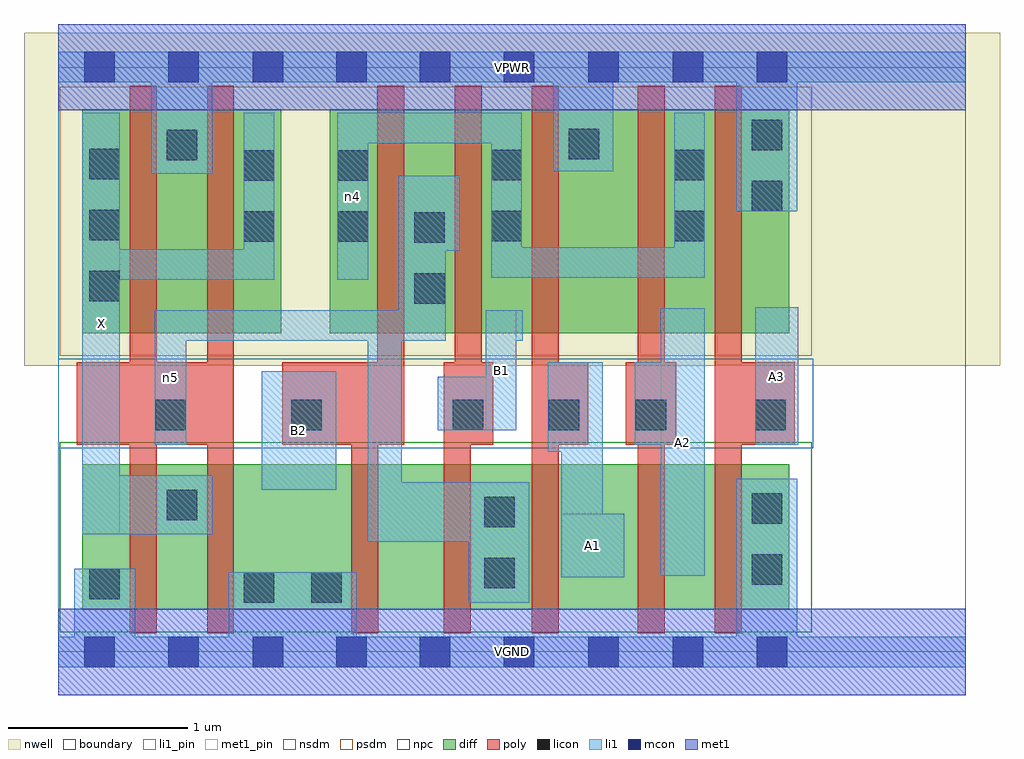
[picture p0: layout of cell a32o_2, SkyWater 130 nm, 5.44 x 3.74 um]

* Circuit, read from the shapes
.subckt a32o_2 A1 A2 A3 B1 B2 VGND VPWR X n4 n5
XM1 X n5 VGND VSUBS sky130_fd_pr__nfet_01v8 w=0.81 l=0.15 m=2
XM2 n1 B2 VGND VSUBS sky130_fd_pr__nfet_01v8 w=0.81 l=0.15
XM3 n5 B1 n1 VSUBS sky130_fd_pr__nfet_01v8 w=0.81 l=0.15
XM4 n2 A1 n5 VSUBS sky130_fd_pr__nfet_01v8 w=0.81 l=0.15
XM5 n3 A2 n2 VSUBS sky130_fd_pr__nfet_01v8 w=0.81 l=0.15
XM6 VGND A3 n3 VSUBS sky130_fd_pr__nfet_01v8 w=0.81 l=0.15
XM7 VPWR n5 X n6 sky130_fd_pr__pfet_01v8 w=1.25 l=0.15 m=2
XM8 n5 B2 n4 n6 sky130_fd_pr__pfet_01v8 w=1.25 l=0.15
XM9 n4 B1 n5 n6 sky130_fd_pr__pfet_01v8 w=1.25 l=0.15
XM10 VPWR A1 n4 n6 sky130_fd_pr__pfet_01v8 w=1.25 l=0.15
XM11 n4 A2 VPWR n6 sky130_fd_pr__pfet_01v8 w=1.25 l=0.15
XM12 VPWR A3 n4 n6 sky130_fd_pr__pfet_01v8 w=1.25 l=0.15
.ends

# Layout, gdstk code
import gdstk
lib = gdstk.Library(unit=1e-6, precision=1e-09)
def R(c, l, rs):  # rectangles x0, y0, x1, y1
    for r in rs: c.add(gdstk.rectangle(r[:2], r[2:], *l))
def A(c, l, x, y, w, h, nx, ny, dx, dy):  # array of equal rectangles
    R(c, l, [(x+i*dx, y+j*dy, x+i*dx+w, y+j*dy+h) for i in range(nx) for j in range(ny)])
nwell = (64, 20)
diff = (65, 20)
poly = (66, 20)
licon = (66, 44)
li1_pin = (67, 16)
li1 = (67, 20)
mcon = (67, 44)
met1_pin = (68, 16)
met1 = (68, 20)
nsdm = (93, 44)
psdm = (94, 20)
npc = (95, 20)
boundary = (235, 4)

a32o_2 = lib.new_cell('a32o_2')
R(a32o_2, nwell, [(-0.19,1.595,5.25,3.45), (0,1.595,5.06,3.45)])
R(a32o_2, diff, [(0.135,0.235,4.075,1.045), (0.135,1.775,1.245,3.025), (1.515,1.775,4.075,3.025)])
R(a32o_2, poly, [(0.4,0.105,0.55,3.155), (0.83,0.105,0.98,3.155), (1.635,0.105,1.785,1.615), (2.15,0.105,2.3,1.615), (2.64,0.105,2.79,3.155), (3.23,0.105,3.38,3.155), (3.66,0.105,3.81,3.155), (0.105,1.155,0.98,1.615), (1.25,1.155,1.93,1.615), (1.78,1.155,1.93,3.155), (2.15,1.155,2.425,1.615), (2.21,1.155,2.36,3.155), (2.64,1.155,2.955,1.615), (3.165,1.155,3.445,1.615), (3.66,1.155,4.105,1.615)])
A(a32o_2, licon, 0.175, 1.955, 0.17, 0.17, 1, 3, 0, 0.34)
R(a32o_2, licon, [(1.035,0.275,1.205,0.445), (1.41,0.275,1.58,0.445), (0.175,0.295,0.345,0.465), (2.375,0.355,2.545,0.525), (3.865,0.375,4.035,0.545), (2.375,0.695,2.545,0.865), (3.865,0.715,4.035,0.885), (0.605,0.735,0.775,0.905), (0.545,1.235,0.715,1.405), (1.3,1.235,1.47,1.405), (2.2,1.235,2.37,1.405), (2.735,1.235,2.905,1.405), (3.22,1.235,3.39,1.405), (3.885,1.235,4.055,1.405), (1.985,1.94,2.155,2.11), (1.985,2.28,2.155,2.45), (1.035,2.285,1.205,2.455), (1.56,2.285,1.73,2.455), (2.415,2.29,2.585,2.46), (3.435,2.29,3.605,2.46), (3.865,2.455,4.035,2.625), (1.035,2.625,1.205,2.795), (1.56,2.625,1.73,2.795), (2.415,2.63,2.585,2.8), (3.435,2.63,3.605,2.8), (0.605,2.74,0.775,2.91), (2.845,2.745,3.015,2.915), (3.865,2.795,4.035,2.965)])
R(a32o_2, li1_pin, [(2.805,0.415,3.155,0.77), (3.36,0.425,3.605,1.915), (0.135,0.655,0.345,3.005), (1.135,0.905,1.55,1.565), (3.885,1.155,4.125,1.92), (2.385,1.235,2.555,1.905)])
R(a32o_2, li1, [(0,-0.085,5.06,0.085), (0.09,-0.085,0.43,0.465), (0.95,-0.085,1.665,0.445), (3.78,-0.085,4.12,0.965), (2.29,0.275,2.625,0.945), (2.805,0.415,3.035,1.615), (2.805,0.415,3.155,0.77), (3.36,0.425,3.605,1.915), (1.725,0.615,1.915,1.905), (1.725,0.615,2.625,0.945), (0.135,0.655,0.345,3.005), (0.135,0.655,0.86,0.985), (1.135,0.905,1.55,1.565), (2.73,1.115,3.035,1.615), (0.54,1.155,0.715,1.905), (3.215,1.155,3.605,1.615), (3.885,1.155,4.125,1.92), (2.115,1.235,2.555,1.535), (2.385,1.235,2.555,1.905), (0.54,1.735,2.16,1.905), (1.9,1.735,2.16,2.655), (2.385,1.735,2.59,1.905), (0.135,2.075,1.205,2.245), (1.035,2.075,1.205,3.005), (1.555,2.075,1.73,3.005), (2.415,2.085,3.605,2.255), (2.415,2.085,2.585,3.005), (3.435,2.085,3.605,3.005), (1.9,2.235,2.24,2.655), (3.78,2.455,4.12,3.345), (0.52,2.665,0.86,3.345), (2.76,2.68,3.095,3.345), (1.555,2.835,2.585,3.005), (0,3.175,5.06,3.345)])
A(a32o_2, mcon, 0.145, -0.085, 0.17, 0.17, 3, 2, 0.47, 3.26)
A(a32o_2, mcon, 2.015, -0.085, 0.17, 0.17, 5, 2, 0.47, 3.26)
R(a32o_2, mcon, [(1.55,-0.085,1.72,0.085), (1.55,3.175,1.72,3.345)])
R(a32o_2, met1_pin, [(0,-0.24,5.06,0.24), (0,3.02,5.06,3.5)])
R(a32o_2, met1, [(0,-0.24,5.06,0.24), (0,3.02,5.06,3.5)])
R(a32o_2, nsdm, [(0.01,0.11,4.2,1.17)])
R(a32o_2, psdm, [(0.01,1.65,4.2,3.15)])
R(a32o_2, npc, [(0,1.135,4.21,1.635)])
R(a32o_2, boundary, [(0,0,5.06,3.26)])
a32o_2.add(gdstk.Label('A1', (2.98,0.592), layer=67, texttype=5))
a32o_2.add(gdstk.Label('A2', (3.482,1.17), layer=67, texttype=5))
a32o_2.add(gdstk.Label('A3', (4.005,1.537), layer=67, texttype=5))
a32o_2.add(gdstk.Label('B1', (2.47,1.57), layer=67, texttype=5))
a32o_2.add(gdstk.Label('B2', (1.342,1.235), layer=67, texttype=5))
a32o_2.add(gdstk.Label('X', (0.24,1.83), layer=67, texttype=5))
a32o_2.add(gdstk.Label('n5', (0.627,1.53), layer=67, texttype=5))
a32o_2.add(gdstk.Label('n4', (1.642,2.54), layer=67, texttype=5))
a32o_2.add(gdstk.Label('VPWR', (2.53,3.26), layer=68, texttype=5))
a32o_2.add(gdstk.Label('VGND', (2.53,0), layer=68, texttype=5))
a32o_2.add(gdstk.Label('A1', (2.98,0.592), layer=67, texttype=16))
a32o_2.add(gdstk.Label('A2', (3.482,1.17), layer=67, texttype=16))
a32o_2.add(gdstk.Label('A3', (4.005,1.537), layer=67, texttype=16))
a32o_2.add(gdstk.Label('B1', (2.47,1.57), layer=67, texttype=16))
a32o_2.add(gdstk.Label('B2', (1.342,1.235), layer=67, texttype=16))
a32o_2.add(gdstk.Label('X', (0.24,1.83), layer=67, texttype=16))
a32o_2.add(gdstk.Label('VPWR', (2.53,3.26), layer=68, texttype=16))
a32o_2.add(gdstk.Label('VGND', (2.53,0), layer=68, texttype=16))

lib.write_gds('a32o_2.gds')
